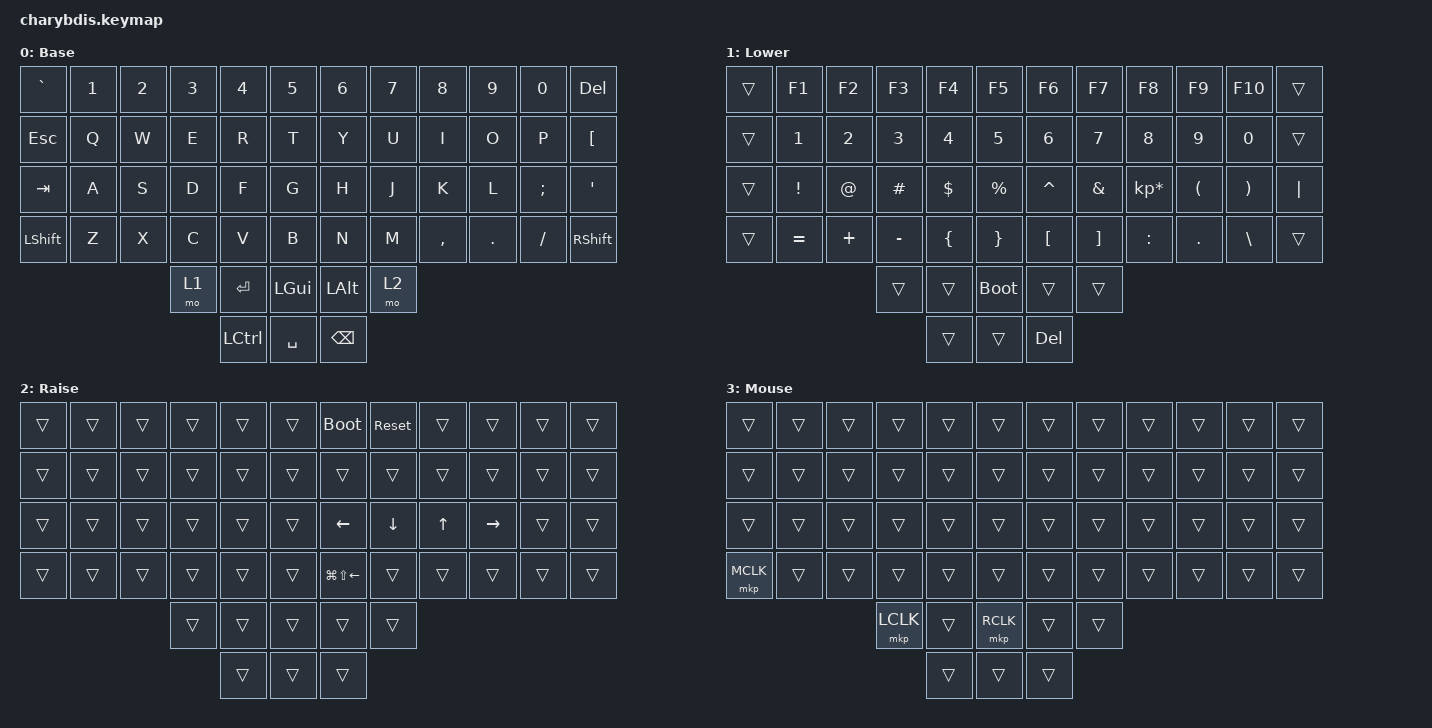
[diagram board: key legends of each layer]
#include <behaviors.dtsi>
#include <dt-bindings/zmk/keys.h>
#include <dt-bindings/zmk/bt.h>
#include <dt-bindings/zmk/ext_power.h>
#include <dt-bindings/zmk/mouse.h>
#include <dt-bindings/zmk/outputs.h>

/ {
    combos {
        compatible = "zmk,combos";

        ParaLeft {
            bindings = <&kp LEFT_PARENTHESIS>;
            key-positions = <4 16>;
        };

        ParaRight {
            bindings = <&kp RIGHT_PARENTHESIS>;
            key-positions = <7 19>;
        };

        bootloaderLeft {
            bindings = <&bootloader>;
            key-positions = <0 13>;
        };
        bootloaderRight {
            bindings = <&bootloader>;
            key-positions = <11 22>;
        };
        resetLeft {
            bindings = <&sys_reset>;
            key-positions = <0 12>;
        };
        resetRight {
            bindings = <&sys_reset>;
            key-positions = <11 23>;
        };
    };

    trackball_listener {
        compatible = "zmk,input-behavior-listener";
        device = <&vtrackball>;
        layers = <0 2 3>;
        evt-type = <INPUT_EV_REL>;
        x-input-code = <INPUT_REL_X>;
        y-input-code = <INPUT_REL_Y>;
        scale-multiplier = <1>;
        scale-divisor = <1>;
        bindings = <&ib_toggle_layer 3>;
    };

    trackball_snipe_listener {
        compatible = "zmk,input-behavior-listener";   
        device = <&vtrackball>;
        layers = <>;
        evt-type = <INPUT_EV_REL>;
        x-input-code = <INPUT_REL_X>;
        y-input-code = <INPUT_REL_Y>;
        scale-multiplier = <1>;
        scale-divisor = <4>;
    };

    trackball_scroll_listener {
        compatible = "zmk,input-behavior-listener";
        device = <&vtrackball>;
        layers = <1>;
        evt-type = <INPUT_EV_REL>;            
        x-input-code = <INPUT_REL_MISC>;
        y-input-code = <INPUT_REL_WHEEL>;
        y-invert;
        bindings = <&ib_wheel_scaler 1 16>;
    };

    ib_wheel_scaler: ib_wheel_scaler {
        compatible = "zmk,input-behavior-scaler";
        #binding-cells = <2>;
        evt-type = <INPUT_EV_REL>;
        input-code = <INPUT_REL_WHEEL>;
    };

    ib_toggle_layer: ib_toggle_layer {
        compatible = "zmk,input-behavior-tog-layer";
        #binding-cells = <1>;
        time-to-live-ms = <750>;
    };

    behaviors {
        lt: layer_tap {
            compatible = "zmk,behavior-hold-tap";
            #binding-cells = <2>;
            flavor = "balanced";
            tapping-term-ms = <240>;
            quick-tap-ms = <150>;
            bindings = 
                <&mo>,
                <&kp>;
        };
    };

    keymap {
        compatible = "zmk,keymap";

        Base {
            label = "Base";
            display-name = "Base";
            bindings = <
                   &kp GRAVE     &kp N1       &kp N2       &kp N3     &kp N4      &kp N5            &kp N6        &kp N7    &kp N8         &kp N9       &kp N0       &kp DEL
                   &kp ESC       &kp Q        &kp W        &kp E      &kp R       &kp T             &kp Y         &kp U     &kp I          &kp O        &kp P        &kp LEFT_BRACKET
                   &kp TAB       &kp A        &kp S        &kp D      &kp F       &kp G             &kp H         &kp J     &kp K          &kp L        &kp SEMI     &kp APOS
                   &kp LSHFT     &kp Z        &kp X        &kp C      &kp V       &kp B             &kp N         &kp M     &kp COMMA      &kp DOT      &kp FSLH     &kp RSHIFT
                                                           &mo 1      &kp RET     &kp LEFT_GUI      &kp LEFT_ALT  &mo 2 
                                                                      &kp LCTRL   &kp SPACE         &kp BSPC
            >;
        };

        Lower {
            label = "Lower";
            display-name = "Lower";
            bindings = <
                   &trans        &kp F1       &kp F2       &kp F3      &kp F4       &kp F5           &kp F6       &kp F7      &kp F8          &kp F9        &kp F10       &trans
                   &trans        &kp N1       &kp N2       &kp N3      &kp N4       &kp N5           &kp N6       &kp N7      &kp N8          &kp N9        &kp N0        &trans 
                   &trans        &kp EXCL     &kp AT       &kp HASH    &kp DLLR     &kp PRCNT        &kp CARET    &kp AMPS    &kp KP_MULTIPLY &kp LPAR      &kp RPAR      &kp PIPE 
                   &trans        &kp EQUAL    &kp PLUS     &kp MINUS   &kp LBRC     &kp RBRC         &kp LBKT     &kp RBKT    &kp COLON       &kp DOT       &kp BSLH      &trans 
                                                           &trans      &trans       &bootloader      &trans       &trans
                                                                       &trans       &trans           &kp DEL
            >;
        };

        Raise {
            label = "Raise";
            display-name = "Raise";
            bindings = <
                   &trans     &trans         &trans       &trans        &trans     &trans          &bootloader      &sys_reset    &trans        &trans        &trans        &trans
                   &trans     &trans         &trans       &trans        &trans     &trans          &trans           &trans        &trans        &trans        &trans        &trans
                   &trans     &trans         &trans       &trans        &trans     &trans          &kp LEFT         &kp DOWN      &kp UP        &kp RIGHT     &trans        &trans
                   &trans     &trans         &trans       &trans        &trans     &trans          &kp LG(LS(LEFT)) &trans        &trans        &trans        &trans        &trans 
                                                          &trans        &trans     &trans          &trans           &trans    
                                                                        &trans     &trans          &trans
            >;
        };

        Mouse {
            display-name = "Mouse";
            bindings = <
                  &trans          &trans       &trans       &trans       &trans         &trans           &trans       &trans         &trans        &trans        &trans        &trans
                  &trans          &trans       &trans       &trans       &trans         &trans           &trans       &trans         &trans        &trans        &trans        &trans
                  &trans          &trans       &trans       &trans       &trans         &trans           &trans       &trans         &trans        &trans        &trans        &trans
                  &mkp MCLK       &trans       &trans       &trans       &trans         &trans           &trans       &trans         &trans        &trans        &trans        &trans
                                                            &mkp LCLK    &trans         &mkp RCLK        &trans       &trans    
                                                                         &trans         &trans           &trans
            >;
        };
    };
};
